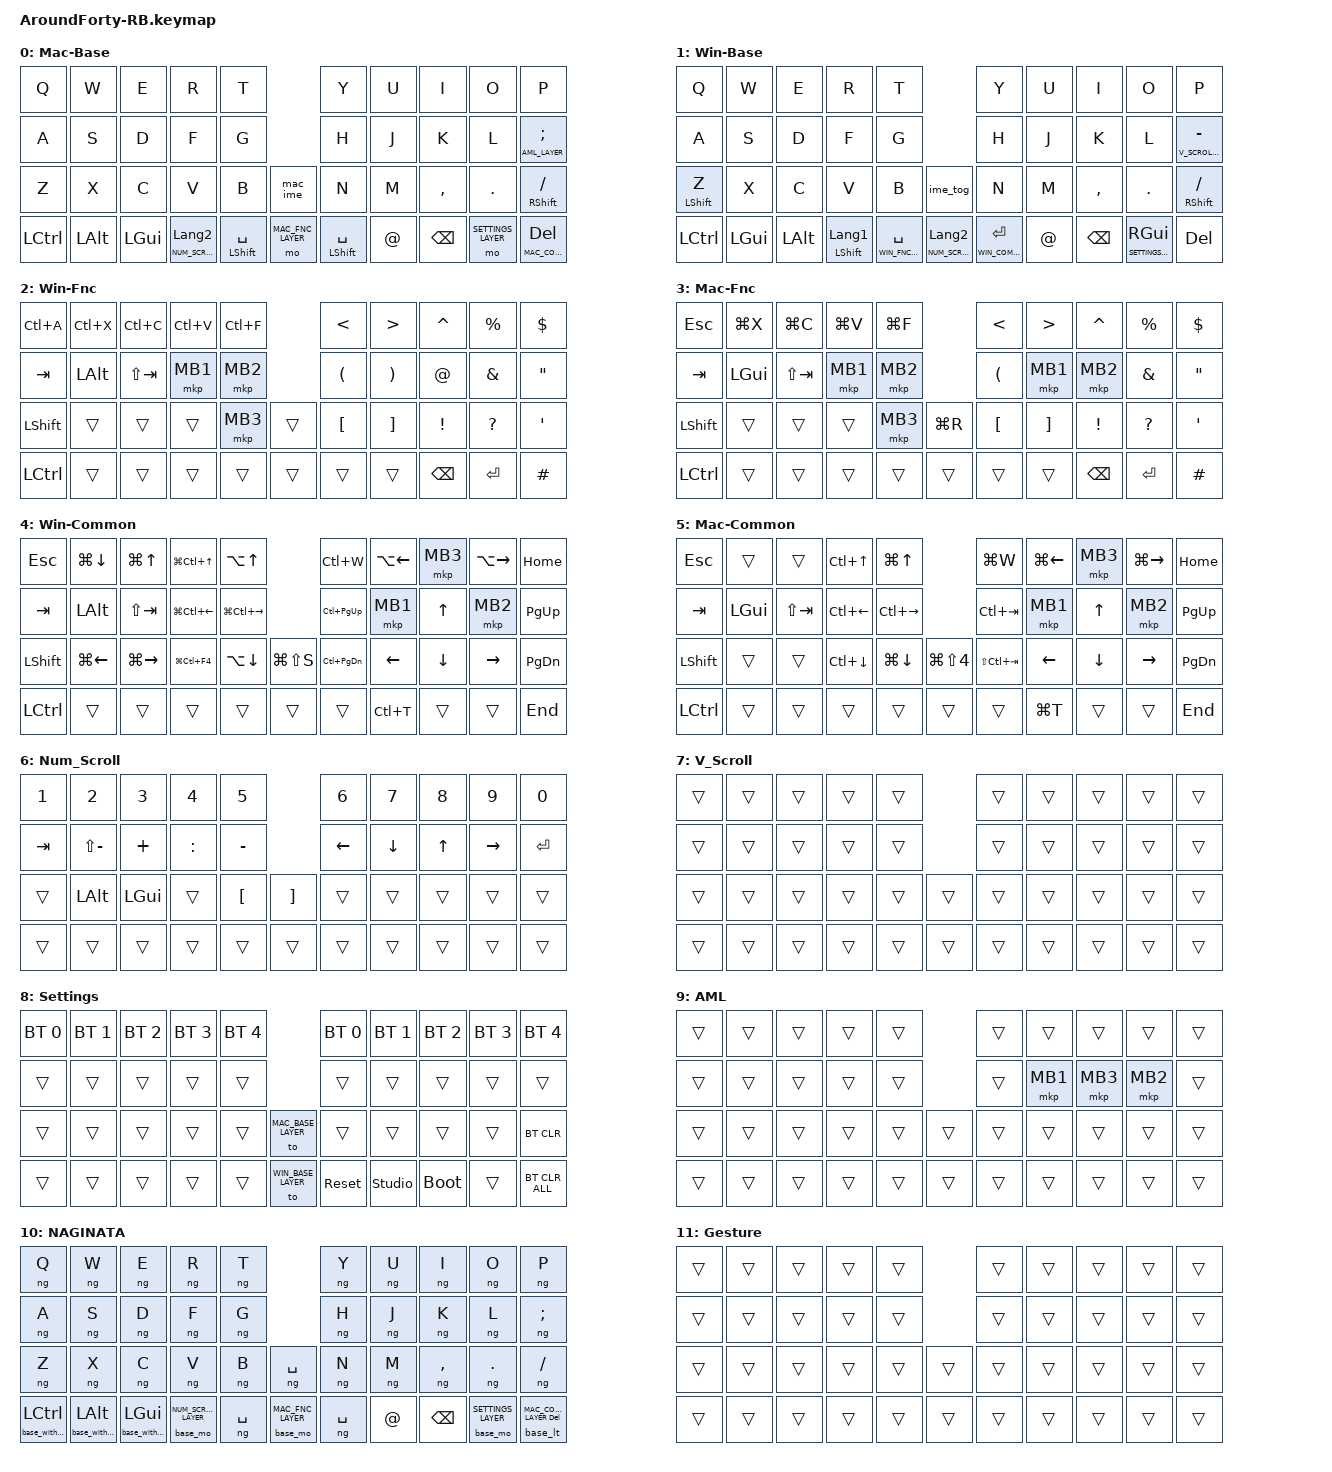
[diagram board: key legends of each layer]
#define MAC_BASE_LAYER 0
#define WIN_BASE_LAYER 1
#define WIN_FNC_LAYER 2
#define MAC_FNC_LAYER 3
#define WIN_COMMON_LAYER 4
#define MAC_COMMON_LAYER 5
#define NUM_SCROLL_LAYER 6
#define V_SCROLL_LAYER 7
#define SETTINGS_LAYER 8
#define AML_LAYER 9
#define NAGINATA_LAYER 10
#define GESTURE_LAYER 11

#include <behaviors/rgbled_widget.dtsi>
#include <behaviors.dtsi>
#include <behaviors/naginata.dtsi>
#include <mouse-gesture.dtsi>
#include <dt-bindings/zmk/bt.h>
#include <dt-bindings/zmk/keys.h>
#include <dt-bindings/zmk/mouse-gesture.h>
#include <dt-bindings/zmk/pointing.h>

&mt {
    flavor = "balanced";
    quick-tap-ms = <0>;
};

&zip_mouse_gesture {
    // enable-eager-mode;
    always-active;
    suppress-movement;
    stroke-size = <5>;
    movement-threshold = <6>;
    idle-timeout-ms = <100>;
    gesture-cooldown-ms = <160>;

    mission_control {
        pattern = <GESTURE_UP>;
        bindings = <&kp LC(UP_ARROW)>;
    };

    app_expose {
        pattern = <GESTURE_DOWN>;
        bindings = <&kp LC(DOWN_ARROW)>;
    };

    show_desktop {
        pattern = <GESTURE_LEFT>;
        bindings = <&kp LG(F3)>;
    };

    next_space {
        pattern = <GESTURE_RIGHT>;
        bindings = <&kp LC(RIGHT_ARROW)>;
    };
};

/ {
    combos {
        compatible = "zmk,combos";

        combo_gesture_layer {
            timeout-ms = <50>;
            slow-release;
            bindings = <&mo GESTURE_LAYER>;
            key-positions = <0 1>;
            layers = <MAC_BASE_LAYER NAGINATA_LAYER>;
        };

        combo_ng_on {
            timeout-ms = <300>;
            bindings = <&ng_on>;
            key-positions = <15 16>;
            layers = <MAC_BASE_LAYER>;
        };

        combo_ng_off {
            timeout-ms = <300>;
            bindings = <&ng_off>;
            key-positions = <13 14>;
            layers = <MAC_BASE_LAYER NAGINATA_LAYER>;
        };

        combo_return {
            timeout-ms = <50>;
            bindings = <&kp ENTER>;
            key-positions = <23 27>;
        };
    };

    macros {
        to_layer_0: to_layer_0 {
            compatible = "zmk,behavior-macro-one-param";
            #binding-cells = <1>;
            bindings = <&to MAC_BASE_LAYER &macro_param_1to1 &kp MACRO_PLACEHOLDER>;
            label = "TO_LAYER_0";
        };

        // Windows用入力切り替え：Alt + Grave (~)

        ime_tog: ime_toggle {
            compatible = "zmk,behavior-macro";
            #binding-cells = <0>;
            bindings =
                <&macro_press>,
                <&kp LALT>,
                <&macro_tap>,
                <&kp GRAVE>,
                <&macro_release>,
                <&kp LALT>;
        };

        // macOS用入力切り替え：Ctrl + Space

        mac_ime: mac_ime_toggle {
            compatible = "zmk,behavior-macro";
            #binding-cells = <0>;
            bindings =
                <&macro_press>,
                <&kp LCTRL>,
                <&macro_tap>,
                <&kp SPACE>,
                <&macro_release>,
                <&kp LCTRL>;
        };

        ng_on: ng_on {
            compatible = "zmk,behavior-macro";
            #binding-cells = <0>;
            bindings = <&macro_tap &kp LANGUAGE_1 &kp INTERNATIONAL_4 &to NAGINATA_LAYER>;
        };

        ng_off: ng_off {
            compatible = "zmk,behavior-macro";
            #binding-cells = <0>;
            bindings = <&macro_tap &kp LANGUAGE_2 &kp INTERNATIONAL_5 &to MAC_BASE_LAYER>;
        };

        base_with_mod: base_with_mod {
            compatible = "zmk,behavior-macro-one-param";
            wait-ms = <0>;
            tap-ms = <0>;
            #binding-cells = <1>;
            bindings
                = <&macro_press &tog NAGINATA_LAYER>
                , <&macro_param_1to1>
                , <&macro_press &kp MACRO_PLACEHOLDER>
                , <&macro_pause_for_release>
                , <&macro_param_1to1>
                , <&macro_release &kp MACRO_PLACEHOLDER>
                , <&macro_press &tog NAGINATA_LAYER>
                ;
        };

        // NAGINATA_LAYER is above the utility layers, so momentary layer keys
        // need to disable it while held.

        base_mo: base_mo {
            compatible = "zmk,behavior-macro-one-param";
            wait-ms = <0>;
            tap-ms = <0>;
            #binding-cells = <1>;
            bindings
                = <&macro_press &tog NAGINATA_LAYER>
                , <&macro_param_1to1>
                , <&macro_press &mo MACRO_PLACEHOLDER>
                , <&macro_pause_for_release>
                , <&macro_param_1to1>
                , <&macro_release &mo MACRO_PLACEHOLDER>
                , <&macro_press &tog NAGINATA_LAYER>
                ;
        };

        base_lt: base_lt {
            compatible = "zmk,behavior-macro-two-param";
            wait-ms = <0>;
            tap-ms = <0>;
            #binding-cells = <2>;
            bindings
                = <&macro_press &tog NAGINATA_LAYER>
                , <&macro_param_1to1>
                , <&macro_param_2to2>
                , <&macro_press &lt MACRO_PLACEHOLDER MACRO_PLACEHOLDER>
                , <&macro_pause_for_release>
                , <&macro_param_1to1>
                , <&macro_param_2to2>
                , <&macro_release &lt MACRO_PLACEHOLDER MACRO_PLACEHOLDER>
                , <&macro_press &tog NAGINATA_LAYER>
                ;
        };
    };

    behaviors {
        lt_to_layer_0: lt_to_layer_0 {
            compatible = "zmk,behavior-hold-tap";
            label = "LAYER_TAP_TO_0";
            bindings = <&mo>, <&to_layer_0>;

            #binding-cells = <2>;
            tapping-term-ms = <200>;
        };

        // 

        scroll_up_down: behavior_sensor_rotate_mouse_wheel_up_down {
            compatible = "zmk,behavior-sensor-rotate";
            #sensor-binding-cells = <0>;
            bindings = <&msc SCRL_UP>, <&msc SCRL_DOWN>;

            tap-ms = <20>;
        };
    };

    keymap {
        compatible = "zmk,keymap";

        Mac-Base {
            display-name = "Mac-Base";
            bindings = <
&kp Q       &kp W         &kp E         &kp R                 &kp T                             &kp Y        &kp U        &kp I          &kp O           &kp P
&kp A       &kp S         &kp D         &kp F                 &kp G                             &kp H        &kp J        &kp K          &kp L           &lt AML_LAYER SEMICOLON
&kp Z       &kp X         &kp C         &kp V                 &kp B        &mac_ime             &kp N        &kp M        &kp COMMA      &kp DOT         &mt RIGHT_SHIFT SLASH
&kp LCTRL   &kp LEFT_ALT  &kp LEFT_GUI  &lt NUM_SCROLL_LAYER LANGUAGE_2  &mt LEFT_SHIFT SPACE  &mo MAC_FNC_LAYER  &mt LEFT_SHIFT SPACE  &kp AT_SIGN  &kp BACKSPACE  &mo SETTINGS_LAYER  &lt MAC_COMMON_LAYER DEL
            >;
        };

        Win-Base {
            display-name = "Win-Base";
            bindings = <
&kp Q             &kp W     &kp E     &kp R                 &kp T                          &kp Y        &kp U        &kp I          &kp O            &kp P
&kp A             &kp S     &kp D     &kp F                 &kp G                          &kp H        &kp J        &kp K          &kp L            &lt V_SCROLL_LAYER MINUS
&mt LEFT_SHIFT Z  &kp X     &kp C     &kp V                 &kp B        &ime_tog          &kp N        &kp M        &kp COMMA      &kp DOT          &mt RIGHT_SHIFT SLASH
&kp LCTRL         &kp LGUI  &kp LALT  &mt LSHFT LANGUAGE_1  &lt WIN_FNC_LAYER SPACE  &lt NUM_SCROLL_LAYER LANGUAGE_2  &lt WIN_COMMON_LAYER ENTER  &kp AT_SIGN  &kp BACKSPACE  &lt SETTINGS_LAYER RIGHT_GUI  &kp DEL
            >;
        };

        Win-Fnc {
            display-name = "Win-Fnc";
            bindings = <
&kp LC(A)       &kp LC(X)     &kp LC(C)    &kp LC(V)  &kp LC(F)          &kp LESS_THAN         &kp GREATER_THAN       &kp CARET        &kp PERCENT    &kp DOLLAR
&kp TAB         &kp LEFT_ALT  &kp LS(TAB)  &mkp MB1   &mkp MB2           &kp LEFT_PARENTHESIS  &kp RIGHT_PARENTHESIS  &kp AT_SIGN      &kp AMPERSAND  &kp DOUBLE_QUOTES
&kp LEFT_SHIFT  &trans        &trans       &trans     &mkp MB3   &trans  &kp LEFT_BRACKET      &kp RIGHT_BRACKET      &kp EXCLAMATION  &kp QUESTION   &kp SINGLE_QUOTE
&kp LCTRL       &trans        &trans       &trans     &trans     &trans  &trans                &trans                 &kp BACKSPACE    &kp ENTER      &kp HASH
            >;
        };

        Mac-Fnc {
            display-name = "Mac-Fnc";
            bindings = <
&kp ESC         &kp LG(X)     &kp LG(C)    &kp LG(V)  &kp LG(F)             &kp LESS_THAN         &kp GREATER_THAN       &kp CARET        &kp PERCENT    &kp DOLLAR
&kp TAB         &kp LEFT_GUI  &kp LS(TAB)  &mkp MB1   &mkp MB2              &kp LEFT_PARENTHESIS  &mkp MB1                &mkp MB2         &kp AMPERSAND  &kp DOUBLE_QUOTES
&kp LEFT_SHIFT  &trans        &trans       &trans     &mkp MB3   &kp LG(R)  &kp LEFT_BRACKET      &kp RIGHT_BRACKET      &kp EXCLAMATION  &kp QUESTION   &kp SINGLE_QUOTE
&kp LCTRL       &trans        &trans       &trans     &trans     &trans     &trans                &trans                 &kp BACKSPACE    &kp ENTER      &kp HASH
            >;
        };

        Win-Common {
            display-name = "Win-Common";
            bindings = <
&kp ESC    &kp LG(DOWN_ARROW)  &kp LG(UP_ARROW)     &kp LG(LC(UP_ARROW))    &kp LA(UP_ARROW)                        &kp LC(W)          &kp LA(LEFT_ARROW)  &mkp MB3        &kp LA(RIGHT_ARROW)  &kp HOME
&kp TAB    &kp LEFT_ALT        &kp LS(TAB)          &kp LG(LC(LEFT_ARROW))  &kp LG(LC(RIGHT_ARROW))                 &kp LC(PAGE_UP)    &mkp MB1            &kp UP_ARROW    &mkp MB2             &kp PAGE_UP
&kp LSHFT  &kp LG(LEFT_ARROW)  &kp LG(RIGHT_ARROW)  &kp LG(LC(F4))          &kp LA(DOWN_ARROW)       &kp LG(LS(S))  &kp LC(PAGE_DOWN)  &kp LEFT_ARROW      &kp DOWN_ARROW  &kp RIGHT_ARROW      &kp PAGE_DOWN
&kp LCTRL  &trans              &trans               &trans                  &trans                   &trans         &trans             &kp LC(T)           &trans          &trans               &kp END
            >;
        };

        Mac-Common {
            display-name = "Mac-Common";
            bindings = <
&kp ESC    &trans        &trans       &kp LC(UP_ARROW)    &kp LG(UP_ARROW)                           &kp LG(W)        &kp LG(LEFT_ARROW)  &mkp MB3        &kp LG(RIGHT_ARROW)  &kp HOME
&kp TAB    &kp LEFT_GUI  &kp LS(TAB)  &kp LC(LEFT_ARROW)  &kp LC(RIGHT_ARROW)                        &kp LC(TAB)      &mkp MB1            &kp UP_ARROW    &mkp MB2             &kp PAGE_UP
&kp LSHFT  &trans        &trans       &kp LC(DOWN_ARROW)  &kp LG(DOWN_ARROW)   &kp LG(LS(NUMBER_4))  &kp LS(LC(TAB))  &kp LEFT_ARROW      &kp DOWN_ARROW  &kp RIGHT_ARROW      &kp PAGE_DOWN
&kp LCTRL  &trans        &trans       &trans              &trans               &trans                &trans           &kp LG(T)           &trans          &trans               &kp END
            >;
        };

        Num_Scroll {
            bindings = <
&kp N1     &kp N2        &kp N3        &kp N4        &kp N5                         &kp N6          &kp N7          &kp N8        &kp N9           &kp N0
&kp TAB    &kp LS(MINUS) &kp PLUS      &kp COLON     &kp MINUS                      &kp LEFT_ARROW  &kp DOWN_ARROW  &kp UP_ARROW  &kp RIGHT_ARROW  &kp ENTER
&trans     &kp LEFT_ALT  &kp LEFT_GUI  &trans        &kp LEFT_BRACKET  &kp RIGHT_BRACKET  &trans          &trans        &trans           &trans          &trans
&trans     &trans        &trans        &trans        &trans            &trans             &trans          &trans        &trans           &trans          &trans
            >;
        };

        V_Scroll {
            bindings = <
&trans  &trans  &trans  &trans  &trans          &trans  &trans  &trans  &trans  &trans
&trans  &trans  &trans  &trans  &trans          &trans  &trans  &trans  &trans  &trans
&trans  &trans  &trans  &trans  &trans  &trans  &trans  &trans  &trans  &trans  &trans
&trans  &trans  &trans  &trans  &trans  &trans  &trans  &trans  &trans  &trans  &trans
            >;
        };

        Settings {
            display-name = "Settings";
            bindings = <
&bt BT_SEL 0  &bt BT_SEL 1  &bt BT_SEL 2  &bt BT_SEL 3  &bt BT_SEL 4         &bt BT_SEL 0  &bt BT_SEL 1    &bt BT_SEL 2  &bt BT_SEL 3  &bt BT_SEL 4
&trans  &trans  &trans  &trans  &trans         &trans        &trans          &trans        &trans        &trans
&trans  &trans  &trans  &trans  &trans  &to MAC_BASE_LAYER  &trans        &trans          &trans        &trans        &bt BT_CLR
&trans  &trans  &trans  &trans  &trans  &to WIN_BASE_LAYER  &sys_reset    &studio_unlock  &bootloader   &trans        &bt BT_CLR_ALL
            >;
        };

        AML {
            display-name = "AML";
            bindings = <
&trans  &trans  &trans  &trans  &trans          &trans  &trans    &trans    &trans    &trans
&trans  &trans  &trans  &trans  &trans          &trans  &mkp MB1  &mkp MB3  &mkp MB2  &trans
&trans  &trans  &trans  &trans  &trans  &trans  &trans  &trans    &trans    &trans    &trans
&trans  &trans  &trans  &trans  &trans  &trans  &trans  &trans    &trans    &trans    &trans
            >;
        };

        NAGINATA {
            display-name = "NAGINATA";
            bindings = <
&ng Q                  &ng W                   &ng E                   &ng R                   &ng T                             &ng Y        &ng U         &ng I        &ng O       &ng P
&ng A                  &ng S                   &ng D                   &ng F                   &ng G                             &ng H        &ng J         &ng K        &ng L       &ng SEMI
&ng Z                  &ng X                   &ng C                   &ng V                   &ng B        &ng SPACE             &ng N        &ng M         &ng COMMA    &ng DOT     &ng SLASH
&base_with_mod LCTRL   &base_with_mod LEFT_ALT  &base_with_mod LEFT_GUI  &base_mo NUM_SCROLL_LAYER  &ng SPACE    &base_mo MAC_FNC_LAYER  &ng SPACE    &kp AT_SIGN   &kp BACKSPACE  &base_mo SETTINGS_LAYER  &base_lt MAC_COMMON_LAYER DEL
            >;
        };

        Gesture {
            display-name = "Gesture";
            bindings = <
&trans  &trans  &trans  &trans  &trans          &trans  &trans  &trans  &trans  &trans
&trans  &trans  &trans  &trans  &trans          &trans  &trans  &trans  &trans  &trans
&trans  &trans  &trans  &trans  &trans  &trans  &trans  &trans  &trans  &trans  &trans
&trans  &trans  &trans  &trans  &trans  &trans  &trans  &trans  &trans  &trans  &trans
            >;
        };
    };
};
